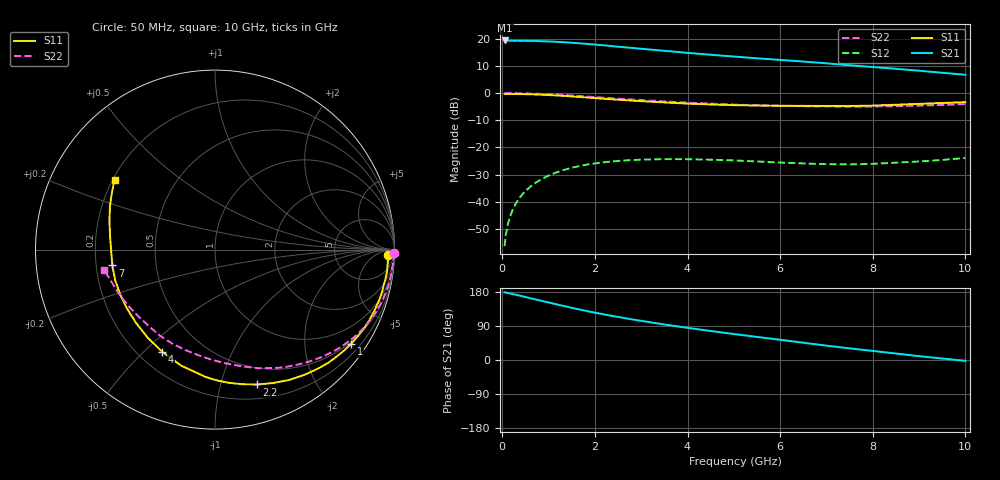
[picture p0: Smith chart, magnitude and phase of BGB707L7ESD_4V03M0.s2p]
! (c) 2009  Infineon Technologies AG, Munich
!  Infineon Technologies AG
!  BGB707L7ESD RU919007 w#7 Sample Build #08493 Teil Nr. 3
!  Vce = 4.0V, Ic = 3.0mA
!  DATUM: 30.06.2009 10:58:05
# GHz  S  MA  R  50
!f  S11  S21  S12  S22
!GHz  Mag  Ang  Mag  Ang  Mag  Ang  Mag  Ang
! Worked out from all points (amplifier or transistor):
!   52 points, 50 MHz to 10 GHz, reference 50 ohm
!   highest |S21| = 19.4 dB at 60 MHz (marker M1)
!   |S21| within 3 dB of that: start of sweep to 2.959 GHz
!   unconditionally stable (mu >= 1): 6.793 GHz to end of sweep
!   at 130 MHz: K = 0.09, MSG = 33.5 dB, |S12| = -47.7 dB
!   at 1.4 GHz: K = 0.10, MSG = 23.3 dB, |S12| = -28.0 dB
!   at 10 GHz: K = 1.03, MAG = 14.3 dB, |S12| = -23.9 dB
!   lowest NFmin = 0.40 dB at 100 MHz
!   S11 on the Smith chart (normalised r, x): 50 MHz: 32, -27; 1 GHz: 0.45, -3.14; 2.2 GHz: 0.33, -1.31; 4 GHz: 0.30, -0.57; 7 GHz: 0.27, -0.07; 10 GHz: 0.21, +0.30
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0.05  0.9646 -1.8  9.168 178.7  0.001514 81.2  0.9966 -1.0
0.06  0.9688 -2.1  9.337 178.4  0.001842 81.5  0.9968 -1.3
0.08  0.9659 -2.7  9.176 177.7  0.002544 82.4  0.997 -1.9
0.09  0.9696 -3.2  9.25 178.0  0.002815 82.5  0.997 -2.1
0.1  0.9643 -3.6  9.199 177.2  0.003061 81.7  0.9964 -2.3
0.15  0.9651 -5.2  9.214 176.0  0.004792 83.1  0.9955 -3.6
0.3  0.9633 -10.5  9.211 172.0  0.009475 81.6  0.9936 -7.2
0.7  0.9461 -24.5  9.15 160.3  0.02178 73.2  0.9749 -16.7
1  0.9226 -34.7  8.948 151.8  0.0302 66.5  0.9525 -23.7
1.4  0.881 -48.0  8.584 140.6  0.03997 57.9  0.9134 -32.7
1.6  0.857 -54.5  8.352 135.0  0.04405 53.7  0.8908 -37.0
1.8  0.8338 -60.8  8.106 130.0  0.04768 49.8  0.8677 -41.1
2.2  0.7871 -72.7  7.582 120.3  0.0533 42.6  0.8223 -48.8
2.8  0.7287 -89.2  6.81 107.2  0.05847 33.8  0.762 -59.2
3.5  0.6733 -106.3  6.013 93.7  0.06079 25.7  0.7034 -70.0
4  0.6409 -117.2  5.525 84.9  0.06058 21.3  0.6677 -77.0
4.5  0.6176 -127.4  5.086 76.6  0.05942 18.0  0.6386 -84.1
5.5  0.5899 -146.4  4.383 60.9  0.05506 14.8  0.596 -98.9
6.5  0.5817 -163.2  3.818 45.6  0.05057 17.0  0.5757 -114.4
7  0.5788 -171.3  3.541 37.9  0.04904 19.9  0.5693 -122.5
8.5  0.61 164.6  2.809 17.1  0.05233 32.0  0.5756 -146.8
10  0.682 145.1  2.177 -2.2  0.06384 38.8  0.6286 -169.6
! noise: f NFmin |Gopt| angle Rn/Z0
0.1  0.4  0.63  2  0.21
0.45  0.47  0.63  4  0.21
0.9  0.57  0.65  13  0.2
1.8  0.64  0.51  35  0.2
5  1.07  0.41  77  0.19
10  1.82  0.45  -140  0.13
